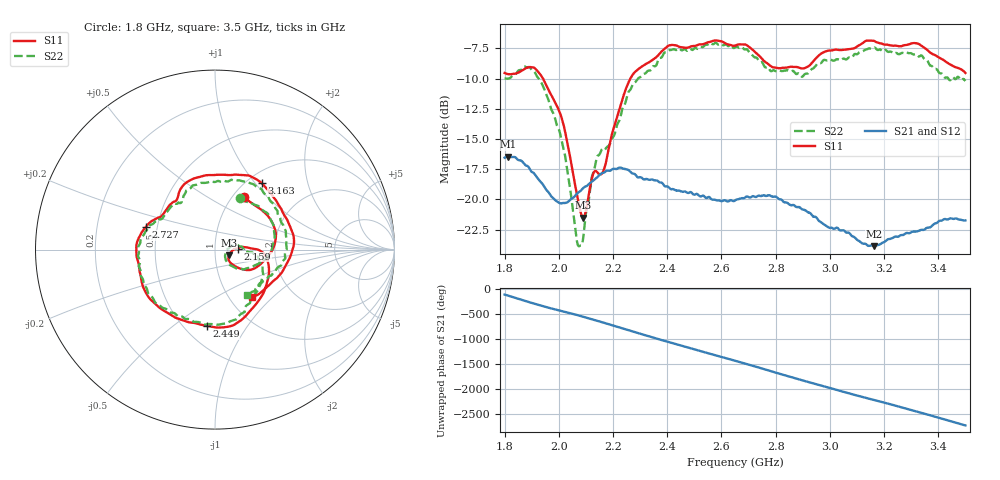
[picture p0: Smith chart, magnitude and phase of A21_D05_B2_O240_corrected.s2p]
! Created with skrf 1.9.0 (http://scikit-rf.org).
# Hz S RI R 50.0
!freq ReS11 ImS11 ReS21 ImS21 ReS12 ImS12 ReS22 ImS22
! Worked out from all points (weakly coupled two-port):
!   1601 points, 1.8 GHz to 3.5 GHz, reference 50 ohm
!   highest |S21| = -16.46 dB at 1.814 GHz (marker M1); lowest = -23.9 dB at 3.163 GHz (marker M2)
!   lowest |S11| = -21.5 dB at 2.09 GHz (marker M3), VSWR 1.18, Z = 58.3 - j3.75 ohm
!   |S11| at or under -10 dB: 1.942 GHz to 2.264 GHz (321.9 MHz wide, 15.3 % of centre)
!   |S22| runs from -23.9 to -7.0 dB; largest |S21 - S12| = 0.0027
!   S11 on the Smith chart (normalised r, x): 1.8 GHz: 1.13, +0.74; 2.159 GHz: 1.29, +0.01; 2.449 GHz: 0.64, -0.66; 2.727 GHz: 0.43, +0.13; 3.163 GHz: 1.16, +1.08; 3.5 GHz: 1.27, -0.75
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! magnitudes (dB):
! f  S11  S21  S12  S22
! 1.8 GHz  -9.5  -16.5  -16.5  -10.0
! 1.814 GHz  -9.6  -16.5  -16.5  -10.0
! 1.883 GHz  -9.1  -17.2  -17.2  -9.1
! 1.941 GHz  -10.0  -18.8  -18.8  -10.6
! 2.013 GHz  -13.4  -20.3  -20.3  -15.4
! 2.067 GHz  -19.6  -19.5  -19.5  -23.4
! 2.084 GHz  -21.3  -19.2  -19.2  -23.8
! 2.09 GHz  -21.5  -19.1  -19.1  -23.2
! 2.128 GHz  -17.8  -18.4  -18.4  -17.7
! 2.159 GHz  -17.9  -17.8  -17.8  -15.8
! 2.198 GHz  -14.4  -17.5  -17.5  -14.9
! 2.26 GHz  -10.2  -17.6  -17.6  -11.0
! 2.367 GHz  -8.0  -18.5  -18.5  -8.4
! 2.449 GHz  -7.4  -19.3  -19.3  -7.6
! 2.65 GHz  -7.3  -20.1  -20.1  -7.4
! 2.727 GHz  -7.9  -19.8  -19.8  -8.2
! 2.798 GHz  -9.1  -19.8  -19.8  -9.4
! 2.934 GHz  -8.7  -21.3  -21.3  -9.2
! 3.163 GHz  -6.9  -23.9  -23.8  -7.4
! 3.217 GHz  -7.2  -23.3  -23.3  -7.8
! 3.325 GHz  -7.1  -22.6  -22.6  -8.1
! 3.5 GHz  -9.5  -21.7  -21.7  -10.2
